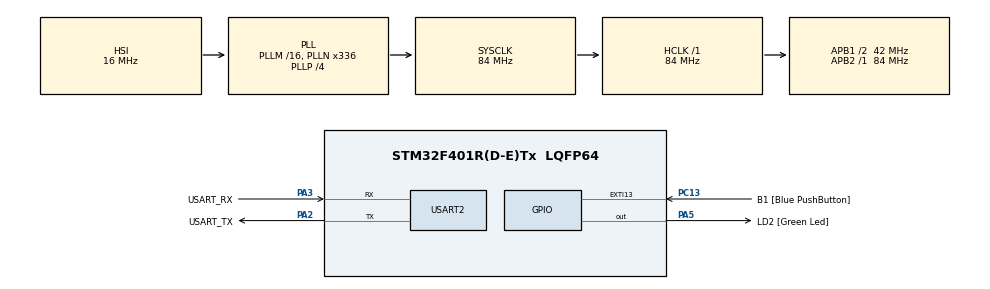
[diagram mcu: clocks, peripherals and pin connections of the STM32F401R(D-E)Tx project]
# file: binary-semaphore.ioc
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FREERTOS.BinarySemaphores01=BinSem,Dynamic,NULL,Available
FREERTOS.Tasks01=NormalTask,0,128,StartNormalTask,Default,NULL,Dynamic,NULL,NULL;HighTask,1,128,StartHighTask,Default,NULL,Dynamic,NULL,NULL;LowTask,-1,128,StartLowTask,Default,NULL,Dynamic,NULL,NULL
FREERTOS.configUSE_NEWLIB_REENTRANT=1
Mcu.Family=STM32F4
Mcu.Name=STM32F401R(D-E)Tx
Mcu.Package=LQFP64
NVIC.PriorityGroup=NVIC_PRIORITYGROUP_4
NVIC.TIM1_UP_TIM10_IRQn=true\:15\:0\:false\:false\:true\:false\:false\:true\:true
NVIC.TimeBase=TIM1_UP_TIM10_IRQn
NVIC.TimeBaseIP=TIM1
PA13.GPIO_Label=TMS
PA13.Mode=Trace_Asynchronous_SW
PA13.Signal=SYS_JTMS-SWDIO
PA14.GPIO_Label=TCK
PA14.Mode=Trace_Asynchronous_SW
PA14.Signal=SYS_JTCK-SWCLK
PA2.GPIO_Label=USART_TX
PA2.GPIO_Mode=GPIO_MODE_AF_PP
PA2.GPIO_PuPd=GPIO_NOPULL
PA2.GPIO_Speed=GPIO_SPEED_FREQ_LOW
PA2.Mode=Asynchronous
PA2.Signal=USART2_TX
PA3.GPIO_Label=USART_RX
PA3.GPIO_Mode=GPIO_MODE_AF_PP
PA3.GPIO_PuPd=GPIO_NOPULL
PA3.GPIO_Speed=GPIO_SPEED_FREQ_LOW
PA3.Mode=Asynchronous
PA3.Signal=USART2_RX
PA5.GPIO_Label=LD2 [Green Led]
PA5.GPIO_Mode=GPIO_MODE_OUTPUT_PP
PA5.GPIO_PuPd=GPIO_NOPULL
PA5.GPIO_Speed=GPIO_SPEED_FREQ_LOW
PA5.Signal=GPIO_Output
PB3.GPIO_Label=SWO
PB3.Mode=Trace_Asynchronous_SW
PB3.Signal=SYS_JTDO-SWO
PC13-ANTI_TAMP.GPIO_Label=B1 [Blue PushButton]
PC13-ANTI_TAMP.GPIO_ModeDefaultEXTI=GPIO_MODE_IT_FALLING
PC13-ANTI_TAMP.GPIO_PuPd=GPIO_NOPULL
PC13-ANTI_TAMP.Signal=GPXTI13
PC14-OSC32_IN.Signal=RCC_OSC32_IN
PC15-OSC32_OUT.Signal=RCC_OSC32_OUT
PH0\ -\ OSC_IN.Mode=HSE-External-Clock-Source
PH0\ -\ OSC_IN.Signal=RCC_OSC_IN
PH1\ -\ OSC_OUT.Mode=HSE-External-Clock-Source
PH1\ -\ OSC_OUT.Signal=RCC_OSC_OUT
ProjectManager.HeapSize=0x200
ProjectManager.StackSize=0x400
ProjectManager.TargetToolchain=STM32CubeIDE
RCC.48MHZClocksFreq_Value=48000000
RCC.AHBFreq_Value=84000000
RCC.APB1CLKDivider=RCC_HCLK_DIV2
RCC.APB1Freq_Value=42000000
RCC.APB1TimFreq_Value=84000000
RCC.APB2Freq_Value=84000000
RCC.APB2TimFreq_Value=84000000
RCC.CortexFreq_Value=84000000
RCC.HCLKFreq_Value=84000000
RCC.HSE_VALUE=8000000
RCC.HSI_VALUE=16000000
RCC.PLLN=336
RCC.PLLP=RCC_PLLP_DIV4
RCC.PLLQ=7
RCC.SYSCLKFreq_VALUE=84000000
RCC.SYSCLKSource=RCC_SYSCLKSOURCE_PLLCLK
RCC.VCOOutputFreq_Value=336000000
USART2.VirtualMode=VM_ASYNC
VP_FREERTOS_VS_CMSIS_V1.Mode=CMSIS_V1
VP_SYS_VS_tim1.Mode=TIM1
board=NUCLEO-F401RE

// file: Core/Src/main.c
/* USER CODE BEGIN Header */
/**
  ******************************************************************************
  * @file           : main.c
  * @brief          : Main program body
  ******************************************************************************
  * @attention
  *
  * Copyright (c) 2026 STMicroelectronics.
  * All rights reserved.
  *
  * This software is licensed under terms that can be found in the LICENSE file
  * in the root directory of this software component.
  * If no LICENSE file comes with this software, it is provided AS-IS.
  *
  ******************************************************************************
  */
/* USER CODE END Header */
#include "main.h"
#include "cmsis_os.h"

UART_HandleTypeDef huart2;

osThreadId NormalTaskHandle;
osThreadId HighTaskHandle;
osThreadId LowTaskHandle;
osSemaphoreId BinSemHandle;

void SystemClock_Config(void);
static void MX_GPIO_Init(void);
static void MX_USART2_UART_Init(void);
void StartNormalTask(void const * argument);
void StartHighTask(void const * argument);
void StartLowTask(void const * argument);

int main(void)
{

  /* MCU Configuration--------------------------------------------------------*/

  /* Reset of all peripherals, Initializes the Flash interface and the Systick. */
  HAL_Init();

  /* Configure the system clock */
  SystemClock_Config();

  /* Initialize all configured peripherals */
  MX_GPIO_Init();
  MX_USART2_UART_Init();

  /* Create the semaphores(s) */
  /* definition and creation of BinSem */
  osSemaphoreDef(BinSem);
  BinSemHandle = osSemaphoreCreate(osSemaphore(BinSem), 1);

  /* Create the thread(s) */
  /* definition and creation of NormalTask */
  osThreadDef(NormalTask, StartNormalTask, osPriorityNormal, 0, 128);
  NormalTaskHandle = osThreadCreate(osThread(NormalTask), NULL);

  /* definition and creation of HighTask */
  osThreadDef(HighTask, StartHighTask, osPriorityAboveNormal, 0, 128);
  HighTaskHandle = osThreadCreate(osThread(HighTask), NULL);

  /* definition and creation of LowTask */
  osThreadDef(LowTask, StartLowTask, osPriorityBelowNormal, 0, 128);
  LowTaskHandle = osThreadCreate(osThread(LowTask), NULL);

  /* Start scheduler */
  osKernelStart();

  /* We should never get here as control is now taken by the scheduler */

  /* Infinite loop */
  while (1)
  {

  }
}

void SystemClock_Config(void)
{
  RCC_OscInitTypeDef RCC_OscInitStruct = {0};
  RCC_ClkInitTypeDef RCC_ClkInitStruct = {0};

  /** Configure the main internal regulator output voltage
  */
  __HAL_RCC_PWR_CLK_ENABLE();
  __HAL_PWR_VOLTAGESCALING_CONFIG(PWR_REGULATOR_VOLTAGE_SCALE2);

  /** Initializes the RCC Oscillators according to the specified parameters
  * in the RCC_OscInitTypeDef structure.
  */
  RCC_OscInitStruct.OscillatorType = RCC_OSCILLATORTYPE_HSI;
  RCC_OscInitStruct.HSIState = RCC_HSI_ON;
  RCC_OscInitStruct.HSICalibrationValue = RCC_HSICALIBRATION_DEFAULT;
  RCC_OscInitStruct.PLL.PLLState = RCC_PLL_ON;
  RCC_OscInitStruct.PLL.PLLSource = RCC_PLLSOURCE_HSI;
  RCC_OscInitStruct.PLL.PLLM = 16;
  RCC_OscInitStruct.PLL.PLLN = 336;
  RCC_OscInitStruct.PLL.PLLP = RCC_PLLP_DIV4;
  RCC_OscInitStruct.PLL.PLLQ = 7;
  if (HAL_RCC_OscConfig(&RCC_OscInitStruct) != HAL_OK)
  {
    Error_Handler();
  }

  /** Initializes the CPU, AHB and APB buses clocks
  */
  RCC_ClkInitStruct.ClockType = RCC_CLOCKTYPE_HCLK|RCC_CLOCKTYPE_SYSCLK
                              |RCC_CLOCKTYPE_PCLK1|RCC_CLOCKTYPE_PCLK2;
  RCC_ClkInitStruct.SYSCLKSource = RCC_SYSCLKSOURCE_PLLCLK;
  RCC_ClkInitStruct.AHBCLKDivider = RCC_SYSCLK_DIV1;
  RCC_ClkInitStruct.APB1CLKDivider = RCC_HCLK_DIV2;
  RCC_ClkInitStruct.APB2CLKDivider = RCC_HCLK_DIV1;

  if (HAL_RCC_ClockConfig(&RCC_ClkInitStruct, FLASH_LATENCY_2) != HAL_OK)
  {
    Error_Handler();
  }
}

static void MX_USART2_UART_Init(void)
{

  huart2.Instance = USART2;
  huart2.Init.BaudRate = 115200;
  huart2.Init.WordLength = UART_WORDLENGTH_8B;
  huart2.Init.StopBits = UART_STOPBITS_1;
  huart2.Init.Parity = UART_PARITY_NONE;
  huart2.Init.Mode = UART_MODE_TX_RX;
  huart2.Init.HwFlowCtl = UART_HWCONTROL_NONE;
  huart2.Init.OverSampling = UART_OVERSAMPLING_16;
  if (HAL_UART_Init(&huart2) != HAL_OK)
  {
    Error_Handler();
  }

}

static void MX_GPIO_Init(void)
{
  GPIO_InitTypeDef GPIO_InitStruct = {0};

  /* GPIO Ports Clock Enable */
  __HAL_RCC_GPIOC_CLK_ENABLE();
  __HAL_RCC_GPIOH_CLK_ENABLE();
  __HAL_RCC_GPIOA_CLK_ENABLE();
  __HAL_RCC_GPIOB_CLK_ENABLE();

  /*Configure GPIO pin Output Level */
  HAL_GPIO_WritePin(LD2_GPIO_Port, LD2_Pin, GPIO_PIN_RESET);

  /*Configure GPIO pin : B1_Pin */
  GPIO_InitStruct.Pin = B1_Pin;
  GPIO_InitStruct.Mode = GPIO_MODE_IT_FALLING;
  GPIO_InitStruct.Pull = GPIO_NOPULL;
  HAL_GPIO_Init(B1_GPIO_Port, &GPIO_InitStruct);

  /*Configure GPIO pin : LD2_Pin */
  GPIO_InitStruct.Pin = LD2_Pin;
  GPIO_InitStruct.Mode = GPIO_MODE_OUTPUT_PP;
  GPIO_InitStruct.Pull = GPIO_NOPULL;
  GPIO_InitStruct.Speed = GPIO_SPEED_FREQ_LOW;
  HAL_GPIO_Init(LD2_GPIO_Port, &GPIO_InitStruct);

}

void StartNormalTask(void const * argument)
{
  /* USER CODE BEGIN 5 */
  /* Infinite loop */
  for(;;)
  {
    char *str1 = "Entered NormalTask \r\n";
    HAL_UART_Transmit(&huart2, (uint8_t *) str1, strlen(str1), 100);

    char *str2 = "Leaving NormalTask\r\n";
    HAL_UART_Transmit(&huart2, (uint8_t *) str2, strlen(str2), 100);
    osSemaphoreRelease(BinSemHandle);
    osDelay(500);
  }
  /* USER CODE END 5 */
}

void StartHighTask(void const * argument)
{
  /* USER CODE BEGIN StartHighTask */
  /* Infinite loop */
  for(;;)
  {
    char *str1 = "Entered LowTask and waiting for semaphore\r\n";
    HAL_UART_Transmit(&huart2, (uint8_t *) str1, strlen(str1), 100);
    osSemaphoreWait(BinSemHandle, osWaitForever);
    char *str3 = "Semaphore acquired by high task.\r\n";
    char *str2 = "Leaving LowTask and releasing semaphore\r\n";
    HAL_UART_Transmit(&huart2, (uint8_t *) str2, strlen(str2), 100);
    osSemaphoreRelease(BinSemHandle);
    osDelay(500);
  }
  /* USER CODE END StartHighTask */
}

void StartLowTask(void const * argument)
{
  /* USER CODE BEGIN StartLowTask */
  /* Infinite loop */
  for(;;)
  {
    char *str1 = "Entered LowTask\r\n";
    HAL_UART_Transmit(&huart2, (uint8_t *) str1, strlen(str1), 100);
    // Make task wait until another task gives/releases the semaphore
    osSemaphoreWait(BinSemHandle, osWaitForever);
    char *str3 = "Semaphore acquired by low task.\r\n";
    while(HAL_GPIO_ReadPin(GPIOC, GPIO_PIN_13)); // wait until the pin goes low
    char *str2 = "Leaving LowTask\r\n";
    HAL_UART_Transmit(&huart2, (uint8_t *) str2, strlen(str2), 100);
    osDelay(500);
  }
  /* USER CODE END StartLowTask */
}

void HAL_TIM_PeriodElapsedCallback(TIM_HandleTypeDef *htim)
{
  if (htim->Instance == TIM1)
  {
    HAL_IncTick();
  }
}

void Error_Handler(void)
{
  __disable_irq();
  while (1)
  {
  }
}
